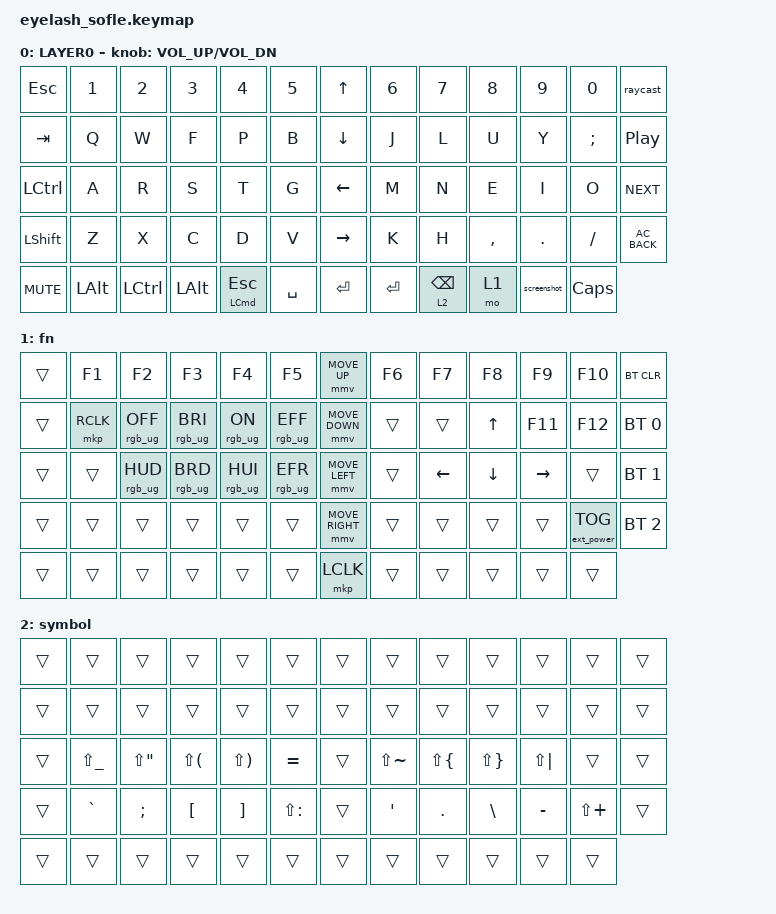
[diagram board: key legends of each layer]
#include <dt-bindings/zmk/mouse.h>
#include <input/processors.dtsi>
#include <behaviors.dtsi>
#include <dt-bindings/zmk/bt.h>
#include <dt-bindings/zmk/ext_power.h>
#include <dt-bindings/zmk/keys.h>
#include <dt-bindings/zmk/pointing.h>
#include <dt-bindings/zmk/rgb.h>

/*

   &mmv_input_listener {
       input-processors = <&zip_xy_scaler 2 1>;
   };

   &msc_input_listener {
       input-processors = <&zip_xy_scaler 2 1>;
   };

 */

#define ZMK_MOUSE_DEFAULT_MOVE_VAL 1200  // 600
#define ZMK_MOUSE_DEFAULT_SCRL_VAL 20    // 10

/ {
    behaviors {
        mmv {
            acceleration-exponent = <1>;      // 1
            time-to-max-speed-ms = <900>;    // 40
            delay-ms = <0>;                   // 0
        };

        msc {
            acceleration-exponent = <1>;      // 0
            time-to-max-speed-ms = <400>;      // 500
            delay-ms = <0>;                   //   10
        };
    };

    scroll_encoder: scroll_encoder {
        compatible = "zmk,behavior-sensor-rotate";
        #sensor-binding-cells = <0>;
        bindings = <&msc SCRL_DOWN>, <&msc SCRL_UP>;

        tap-ms = <30>;
    };

    layer: layer {
        compatible = "zmk,behavior-hold-tap";
        label = "LAYER";
        bindings = <&mo>, <&kp>;

        #binding-cells = <2>;
        tapping-term-ms = <150>;
        quick-tap-ms = <100>;
        require-prior-idle-ms = <150>;
        flavor = "balanced";
        hold-trigger-key-positions = <0 1 2 3 4 5 7 8 9 10 11 13 14 15 16 17 18 20 21 22 23 24 26 27 28 29 30 31 33 34 35 36 37 39 40 41 42 43 44 46 47 48 49 50 54 62 0 1 2 3 4 5 7 8 9 10 11 12 13 14 15 16 17 18 20 21 22 23 24 25 26 27 28 29 30 31 33 34 35 36 37 38 39 40 41 42 43 44 46 47 48 49 50 51 53 54 55 56 57 59 60 61 62 63>;
        hold-trigger-on-release;
    };

    hold_command: hold_command {
        compatible = "zmk,behavior-hold-tap";
        label = "HOLD_COMMAND";
        bindings = <&kp>, <&kp>;

        #binding-cells = <2>;
        tapping-term-ms = <150>;
        flavor = "balanced";
        hold-trigger-key-positions = <1 2 3 4 5 14 15 16 17 18 27 28 29 30 31 40 41 42 43 44 53 54 55 0 1 2 3 4 5 7 8 9 10 11 12 13 14 15 16 17 18 20 21 22 23 24 25 26 27 28 29 30 31 33 34 35 36 37 38 39 40 41 42 43 44 46 47 48 49 50 51 53 54 55 61 62 63>;
    };

    macros {
        raycast: raycast {
            compatible = "zmk,behavior-macro";
            #binding-cells = <0>;
            bindings =
                <&macro_press>,
                <&kp LEFT_COMMAND>,
                <&macro_tap>,
                <&kp SPACE>,
                <&macro_release>,
                <&kp LEFT_COMMAND>;

            label = "RAYCAST";
        };

        screenshot: screenshot {
            compatible = "zmk,behavior-macro";
            #binding-cells = <0>;
            bindings =
                <&macro_press>,
                <&kp LEFT_COMMAND &kp LEFT_CONTROL &kp LEFT_SHIFT>,
                <&macro_tap>,
                <&kp NUMBER_4>,
                <&macro_release>,
                <&kp LEFT_COMMAND &kp LEFT_CONTROL &kp LEFT_SHIFT>;

            label = "SCREENSHOT";
        };

        superkey: superkey {
            compatible = "zmk,behavior-macro";
            #binding-cells = <0>;
            bindings =
                <&macro_press>,
                <&kp LEFT_COMMAND &kp LEFT_ALT &kp LEFT_CONTROL>;

            label = "SUPERKEY";
        };

        monosnip: monosnip {
            compatible = "zmk,behavior-macro";
            #binding-cells = <0>;
            bindings = <&kp LG(LA(N5))>;
            label = "MONOSNIP";
        };
    };

    keymap {
        compatible = "zmk,keymap";

        Colemak {
            bindings = <
&kp ESC     &kp N1    &kp N2     &kp N3        &kp N4                             &kp N5       &kp UP_ARROW     &kp N6   &kp N7              &kp N8     &kp N9       &kp N0    &raycast
&kp TAB     &kp Q     &kp W      &kp F         &kp P                              &kp B        &kp DOWN_ARROW   &kp J    &kp L               &kp U      &kp Y        &kp SEMI  &kp C_PLAY_PAUSE
&kp LCTRL   &kp A     &kp R      &kp S         &kp T                              &kp G        &kp LEFT_ARROW   &kp M    &kp N               &kp E      &kp I        &kp O     &kp C_NEXT
&kp LSHFT   &kp Z     &kp X      &kp C         &kp D                              &kp V        &kp RIGHT_ARROW  &kp K    &kp H               &kp COMMA  &kp DOT      &kp FSLH  &kp C_AC_BACK
&kp C_MUTE  &kp LALT  &kp LCTRL  &kp LEFT_ALT  &hold_command LEFT_COMMAND ESCAPE  &kp SPACE    &kp RET          &kp RET  &layer 2 BACKSPACE  &mo 1      &screenshot  &kp CAPS
            >;

            sensor-bindings = <&inc_dec_kp C_VOLUME_UP C_VOL_DN>;
            display-name = "LAYER0";
            label = "colemak";
        };

        fn {
            bindings = <
&trans  &kp F1     &kp F2           &kp F3           &kp F4           &kp F5             &mmv MOVE_UP     &kp F6  &kp F7          &kp F8        &kp F9     &kp F10            &bt BT_CLR
&trans  &mkp RCLK  &rgb_ug RGB_OFF  &rgb_ug RGB_BRI  &rgb_ug RGB_ON   &rgb_ug RGB_EFF    &mmv MOVE_DOWN   &trans  &trans          &kp UP_ARROW  &kp F11    &kp F12            &bt BT_SEL 0
&trans  &trans     &rgb_ug RGB_HUD  &rgb_ug RGB_BRD  &rgb_ug RGB_HUI  &rgb_ug RGB_EFR    &mmv MOVE_LEFT   &trans  &kp LEFT_ARROW  &kp DOWN      &kp RIGHT  &trans             &bt BT_SEL 1
&trans  &trans     &trans           &trans           &trans           &trans             &mmv MOVE_RIGHT  &trans  &trans          &trans        &trans     &ext_power EP_TOG  &bt BT_SEL 2
&trans  &trans     &trans           &trans           &trans           &trans             &mkp LCLK        &trans  &trans          &trans        &trans     &trans
            >;

            label = "fn";
        };

        symbol {
            bindings = <
&trans  &trans         &trans       &trans        &trans        &trans           &trans  &trans         &trans        &trans        &trans        &trans        &trans
&trans  &trans         &trans       &trans        &trans        &trans           &trans  &trans         &trans        &trans        &trans        &trans        &trans
&trans  &kp LS(UNDER)  &kp LS(DQT)  &kp LS(LPAR)  &kp LS(RPAR)  &kp EQUAL        &trans  &kp LS(TILDE)  &kp LS(LBRC)  &kp LS(RBRC)  &kp LS(PIPE)  &trans        &trans
&trans  &kp GRAVE      &kp SEMI     &kp LBKT      &kp RBKT      &kp LS(COLON)    &trans  &kp SQT        &kp DOT       &kp BSLH      &kp MINUS     &kp LS(PLUS)  &trans
&trans  &trans         &trans       &trans        &trans        &trans           &trans  &trans         &trans        &trans        &trans        &trans
            >;
        };
    };
};
